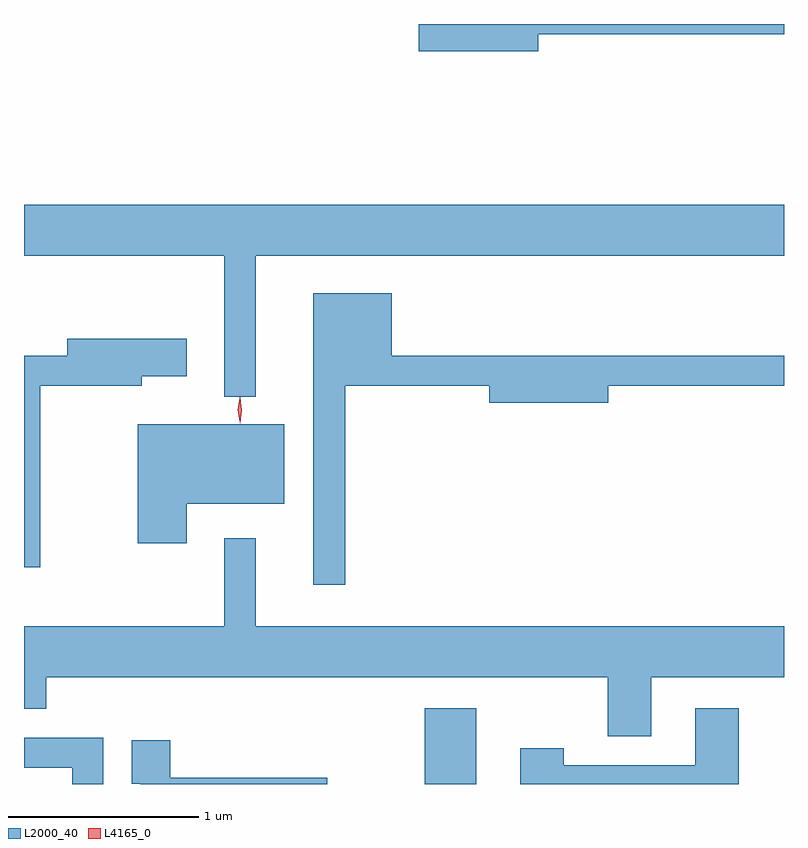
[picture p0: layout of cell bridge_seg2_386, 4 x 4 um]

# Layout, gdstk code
import gdstk
lib = gdstk.Library(unit=1e-6, precision=1e-09)
def R(c, l, rs):  # rectangles x0, y0, x1, y1
    for r in rs: c.add(gdstk.rectangle(r[:2], r[2:], *l))
def P(c, l, *ps):  # polygons
    for p in ps: c.add(gdstk.Polygon(p, *l))
L2000_40 = (2000, 40)
L4165_0 = (4165, 0)

bridge_seg2_386 = lib.new_cell('bridge_seg2_386')
R(bridge_seg2_386, L2000_40, [(640.796,996.695,641.069,997.094)])
P(bridge_seg2_386, L2000_40, [(641.394,1000.641),(642.688,1000.641),(642.688,1000.695),(640.766,1000.695),(640.766,1000.551),(641.394,1000.551)],
  [(639.909,999.476),(642.688,999.476),(642.688,999.744),(638.688,999.744),(638.688,999.476),(639.741,999.476),(639.741,998.733),(639.909,998.733)],
  [(640.379,998.791),(641.136,998.791),(641.136,998.701),(641.764,998.701),(641.764,998.791),(642.688,998.791),(642.688,998.949),(640.624,998.949),(640.624,999.279),(640.211,999.279),(640.211,997.743),(640.379,997.743)],
  [(638.774,998.791),(639.309,998.791),(639.309,998.841),(639.544,998.841),(639.544,999.039),(638.916,999.039),(638.916,998.949),(638.688,998.949),(638.688,997.836),(638.774,997.836)],
  [(639.544,998.171),(640.059,998.171),(640.059,998.589),(639.286,998.589),(639.286,997.961),(639.544,997.961)],
  [(641.989,997.256),(642.688,997.256),(642.688,997.524),(639.909,997.524),(639.909,997.988),(639.741,997.988),(639.741,997.524),(638.688,997.524),(638.688,997.091),(638.804,997.091),(638.804,997.256),(641.761,997.256),(641.761,996.946),(641.989,996.946)],
  [(642.449,997.094),(642.221,997.094),(642.221,996.794),(641.529,996.794),(641.529,996.884),(641.301,996.884),(641.301,996.695),(642.449,996.695)],
  [(639.104,996.939),(638.688,996.939),(638.688,996.781),(638.941,996.781),(638.941,996.695),(639.104,996.695)],
  [(640.284,996.729),(639.459,996.729),(639.459,996.924),(639.256,996.924),(639.256,996.696),(639.301,996.696),(639.301,996.695),(640.284,996.695)])
P(bridge_seg2_386, L4165_0, [(639.825,998.594),(639.816,998.662),(639.824,998.73),(639.825,998.73),(639.826,998.73),(639.835,998.662),(639.826,998.594),(639.826,998.594)],
  [(639.824,998.601),(639.824,998.602),(639.814,998.664),(639.824,998.726),(639.824,998.727),(639.825,998.726),(639.834,998.664),(639.825,998.602)])

lib.write_gds('bridge_seg2_386.gds')
